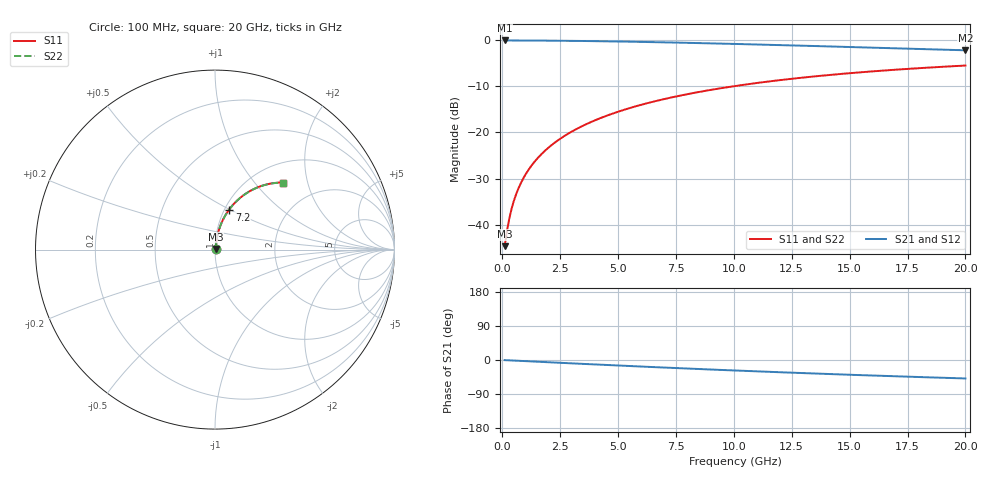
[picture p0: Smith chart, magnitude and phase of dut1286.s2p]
! Touchstone file exported from HFSS 2024.1.0
!  File:  C:/UserFiles/LocalFiles/RDL_TSV_Batchsim/temp_RDL_top_1286_1780242724.aedt
!  Generated:  11:54:19 PM May 31, 2026
!  Design:  RDL_top
!  Project:  temp_RDL_top_1286_1780242724
!  Setup:  Setup1
!  Solution:  Sweep
! Variables:
!  dtsv = 10.80580581um
!  hbump = 3um
!  htsv = 82.93um
!  ldown = 100um
!  lrdl = 635.62um
!  p = 40
!  p1 = 53.02um
!  rhole = 1um
!  t = 450um
!  tdown = 3.915915916um
!  trdl = 4.29um
!  wdown = 15.38538539um
!  wrdl = 11.3um
# GHz S MA R 50.000000
! Terminal data exported
! Port[1] = Box2_T1
! Port[2] = Box2_T2
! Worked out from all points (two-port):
!   200 points, 100 MHz to 20 GHz, reference 50 ohm
!   highest |S21| = -0.04 dB at 100 MHz (marker M1); lowest = -2.2 dB at 20 GHz (marker M2)
!   |S21| within 3 dB of the highest: start of sweep to end of sweep
!   lowest |S11| = -44.7 dB at 100 MHz (marker M3), VSWR 1.01, Z = 50.5 + j0.356 ohm
!   |S11| at or under -10 dB: start of sweep to 9.951 GHz
!   |S22| runs from -44.7 to -5.5 dB; largest |S21 - S12| = 9.4e-15
!   S11 on the Smith chart (normalised r, x): 100 MHz: 1.01, +0.01; 7.2 GHz: 1.05, +0.50; 20 GHz: 1.36, +1.42
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0.1  0.005853 37.0  0.9953 -0.3  0.9953 -0.3  0.005853 37.0
! Gamma 0 0 0 0
! Port Impedance 50 0 50 0
0.2  0.008498 55.8  0.9952 -0.6  0.9952 -0.6  0.008498 55.8
0.3  0.0116 64.8  0.9951 -0.9  0.9951 -0.9  0.0116 64.8
0.4  0.01485 69.8  0.995 -1.2  0.995 -1.2  0.01485 69.8
0.5  0.01815 72.9  0.9948 -1.5  0.9948 -1.5  0.01815 72.9
0.6  0.02148 75.0  0.9946 -1.8  0.9946 -1.8  0.02148 75.0
0.8  0.02818 77.5  0.9942 -2.4  0.9942 -2.4  0.02818 77.5
1.1  0.03828 79.4  0.9935 -3.3  0.9935 -3.3  0.03828 79.4
1.5  0.0518 80.3  0.9924 -4.5  0.9924 -4.5  0.0518 80.3
1.8  0.06194 80.5  0.9913 -5.4  0.9913 -5.4  0.06194 80.5
2.1  0.07207 80.4  0.9901 -6.2  0.9901 -6.2  0.07207 80.3
2.7  0.09225 79.7  0.9871 -8.0  0.9871 -8.0  0.09225 79.7
3.5  0.1189 78.4  0.9821 -10.3  0.9821 -10.3  0.1189 78.4
4.2  0.142 77.0  0.9769 -12.3  0.9769 -12.3  0.142 77.0
5  0.1679 75.4  0.97 -14.5  0.97 -14.5  0.1679 75.3
6.8  0.2245 71.4  0.9519 -19.4  0.9519 -19.4  0.2245 71.4
7.2  0.2367 70.5  0.9475 -20.5  0.9475 -20.5  0.2367 70.5
8.6  0.2782 67.4  0.9309 -24.1  0.9309 -24.1  0.2781 67.4
10.1  0.3203 64.1  0.9118 -27.8  0.9118 -27.8  0.3202 64.1
13.4  0.4038 57.1  0.8674 -35.5  0.8674 -35.5  0.4036 57.0
16.7  0.4741 50.6  0.8221 -42.4  0.8221 -42.4  0.4739 50.5
20  0.532 44.6  0.7786 -48.7  0.7786 -48.7  0.5317 44.6
